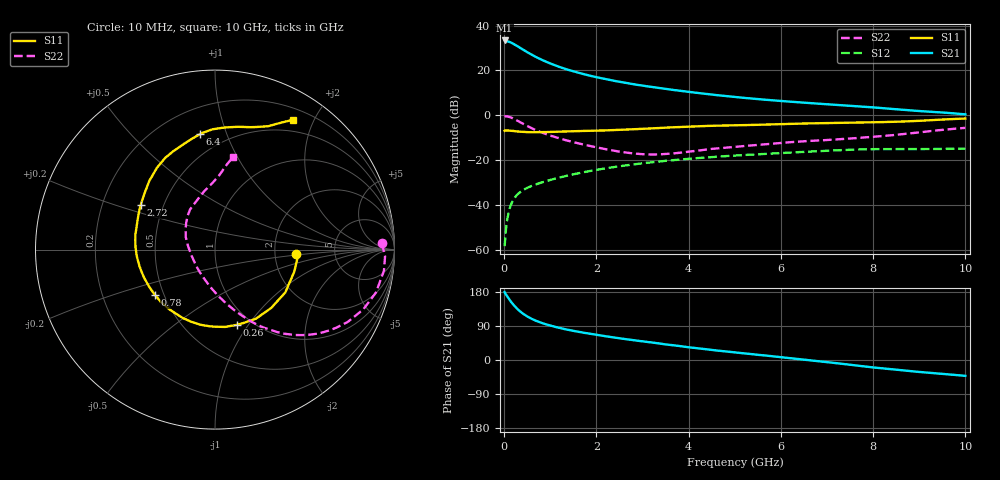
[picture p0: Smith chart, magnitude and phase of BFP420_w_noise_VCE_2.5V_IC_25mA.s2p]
! Infineon Technologies  Discrete & RF Semiconductors
! BFP420
! VCE =  2.5 V,  IC =  25 mA
! Common Emitter S-Parameters:  Jan 2016
# GHz  S  MA  R  50
!  f  S11  S21  S12  S22
! GHz  MAG  ANG  MAG  ANG  MAG  ANG  MAG  ANG
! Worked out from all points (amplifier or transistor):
!   233 points, 10 MHz to 10 GHz, reference 50 ohm
!   highest |S21| = 33.4 dB at 10 MHz (marker M1)
!   |S21| within 3 dB of that: start of sweep to 324.2 MHz
!   unconditionally stable (mu >= 1): 1.663 GHz to end of sweep
!   at 200 MHz: K = 0.27, MSG = 34.8 dB, |S12| = -37.7 dB
!   at 1.74 GHz: K = 1.01, MAG = 21.1 dB, |S12| = -25.4 dB
!   at 10 GHz: K = 1.06, MAG = 6.1 dB, |S12| = -14.9 dB
!   lowest NFmin = 1.38 dB at 900 MHz
!   S11 on the Smith chart (normalised r, x): 10 MHz: 2.62, -0.17; 260 MHz: 0.86, -0.88; 780 MHz: 0.45, -0.28; 2.72 GHz: 0.37, +0.24; 6.4 GHz: 0.36, +0.81; 10 GHz: 0.34, +1.72
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0.01  0.4502 -3.3  46.53 179.2  0.0012 105.6  0.9307 2.1
0.02  0.4616 -6.4  45.42 176.2  0.0017 90.4  0.9482 -2.2
0.055  0.457 -17.1  44.83 169.8  0.0039 84.6  0.9459 -7.9
0.1  0.4588 -31.3  43.84 161.8  0.0071 79.2  0.9283 -14.9
0.15  0.4514 -46.1  41.76 153.4  0.0103 74.6  0.8904 -22.0
0.2  0.4476 -59.4  39.34 145.9  0.013 70.6  0.8437 -28.4
0.26  0.4363 -73.8  36.1 137.9  0.0159 66.3  0.7835 -34.9
0.3  0.4346 -82.5  34.15 133.0  0.0176 64.4  0.7437 -38.9
0.4  0.4266 -100.7  29.46 123.0  0.0211 60.4  0.6515 -46.9
0.5  0.4213 -115.2  25.49 115.0  0.024 58.2  0.5739 -53.1
0.6  0.419 -126.9  22.27 108.4  0.0266 56.8  0.5107 -58.2
0.78  0.4188 -142.7  17.91 99.4  0.0308 55.8  0.4254 -65.2
0.9  0.4212 -151.1  15.74 94.3  0.0336 55.6  0.382 -69.3
1.12  0.4273 -163.0  12.79 87.0  0.0389 55.3  0.3216 -76.1
1.68  0.4452 175.7  8.485 72.9  0.0525 53.7  0.2266 -92.7
2.72  0.4825 149.1  5.082 53.7  0.078 46.7  0.1437 -131.7
3.4  0.5217 135.6  3.988 43.0  0.0937 40.7  0.1346 -164.8
5.1  0.5982 111.7  2.494 18.8  0.1278 25.0  0.201 144.3
6.4  0.6489 97.4  1.937 2.3  0.1505 13.2  0.2589 123.1
6.8  0.663 93.2  1.816 -2.9  0.1578 9.4  0.2729 117.0
8.4  0.7103 73.8  1.383 -24.6  0.1755 -8.4  0.3573 94.6
10  0.8443 58.9  1.046 -41.9  0.1791 -20.8  0.523 79.1
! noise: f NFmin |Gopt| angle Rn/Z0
0.9  1.38  0.22  -154  0.13
1.8  1.65  0.29  -143  0.13
2.4  1.81  0.26  -138  0.17
3  1.83  0.34  -129  0.18
4  1.97  0.45  -112  0.27
5  2.4  0.49  -95  0.44
6  2.85  0.54  -84  0.65
